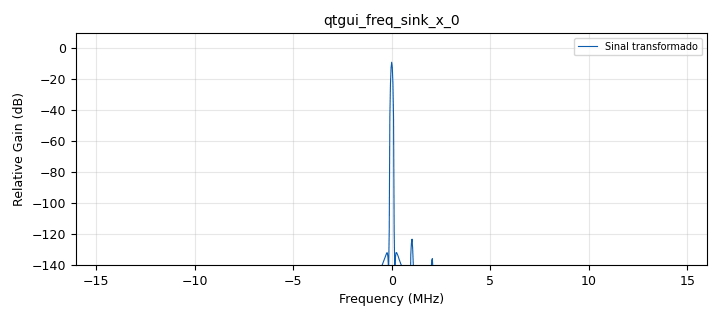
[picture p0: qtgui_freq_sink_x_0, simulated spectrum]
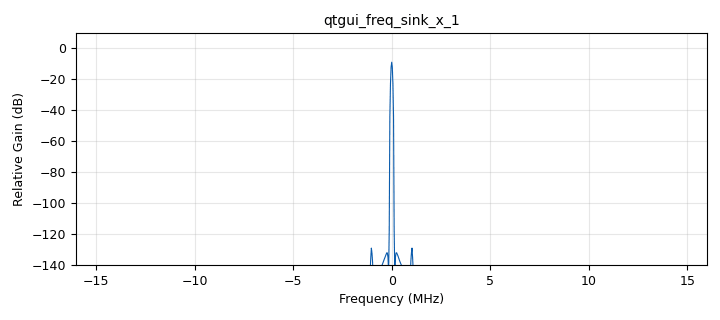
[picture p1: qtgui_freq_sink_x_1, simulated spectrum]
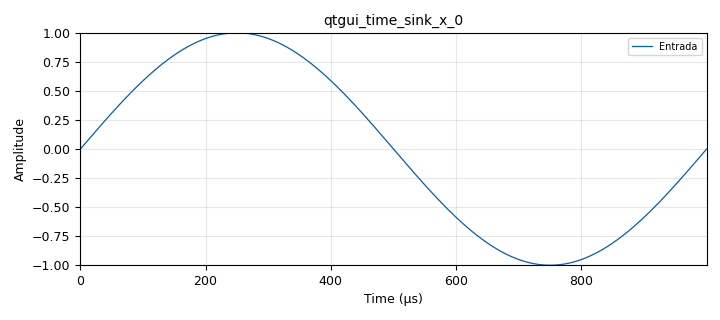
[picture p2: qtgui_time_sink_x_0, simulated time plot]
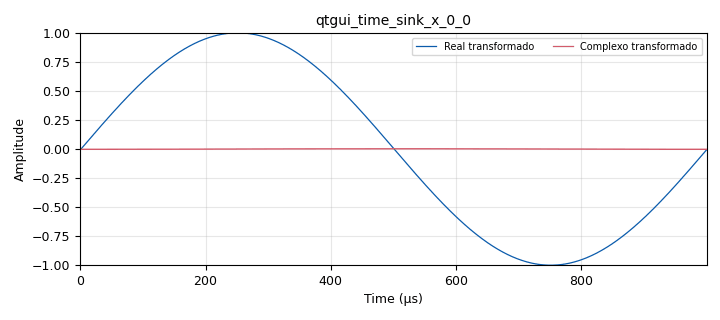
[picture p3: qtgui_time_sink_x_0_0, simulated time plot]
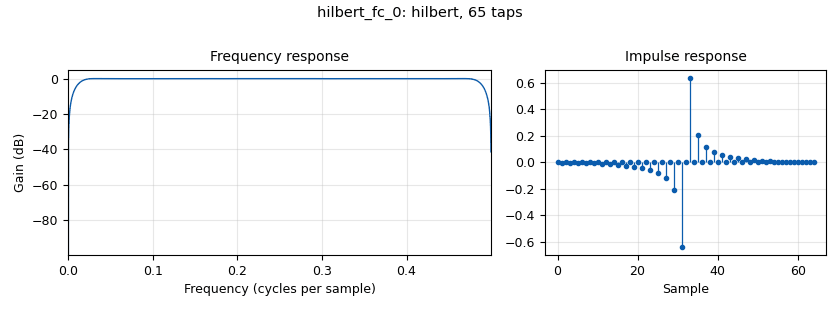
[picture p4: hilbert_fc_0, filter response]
options:
  parameters:
    author: luso
    generate_options: qt_gui
    id: teste2
    output_language: python
    title: demonstracao_hilbert
  states: {}

blocks:
- name: freq
  id: variable_qtgui_entry
  parameters:
    type: int
    value: '1000'
  states: {}
- name: samp_rate
  id: variable
  parameters:
    value: '32000000'
  states: {}
- name: analog_sig_source_x_0
  id: analog_sig_source_x
  parameters:
    amp: '1'
    freq: freq
    offset: '0'
    phase: '0'
    samp_rate: samp_rate
    type: float
    waveform: analog.GR_SIN_WAVE
  states: {}
- name: hilbert_fc_0
  id: hilbert_fc
  parameters:
    num_taps: '65'
  states: {}
- name: qtgui_freq_sink_x_0
  id: qtgui_freq_sink_x
  parameters:
    bw: samp_rate
    ctrlpanel: 'True'
    fc: '0'
    fftsize: '1024'
    gui_hint: tab@0
    label1: Sinal transformado
    type: complex
  states: {}
- name: qtgui_freq_sink_x_1
  id: qtgui_freq_sink_x
  parameters:
    bw: samp_rate
    ctrlpanel: 'True'
    fc: '0'
    fftsize: '1024'
    gui_hint: tab@0
    type: float
  states: {}
- name: qtgui_time_sink_x_0
  id: qtgui_time_sink_x
  parameters:
    ctrlpanel: 'True'
    gui_hint: tab@1
    label1: Entrada
    size: round(samp_rate/freq)
    srate: samp_rate
    type: float
  states: {}
- name: qtgui_time_sink_x_0_0
  id: qtgui_time_sink_x
  parameters:
    ctrlpanel: 'True'
    gui_hint: tab@1
    label1: Real transformado
    label2: Complexo transformado
    size: round(samp_rate/freq)
    srate: samp_rate
    type: complex
  states: {}
- name: tab
  id: qtgui_tab_widget
  parameters:
    label0: Frequência
    label1: Tempo
    num_tabs: '2'
  states: {}

connections:
- [analog_sig_source_x_0, '0', hilbert_fc_0, '0']
- [analog_sig_source_x_0, '0', qtgui_freq_sink_x_1, '0']
- [analog_sig_source_x_0, '0', qtgui_time_sink_x_0, '0']
- [hilbert_fc_0, '0', qtgui_freq_sink_x_0, '0']
- [hilbert_fc_0, '0', qtgui_time_sink_x_0_0, '0']

metadata:
  file_format: 1
  grc_version: 3.10.10.0
